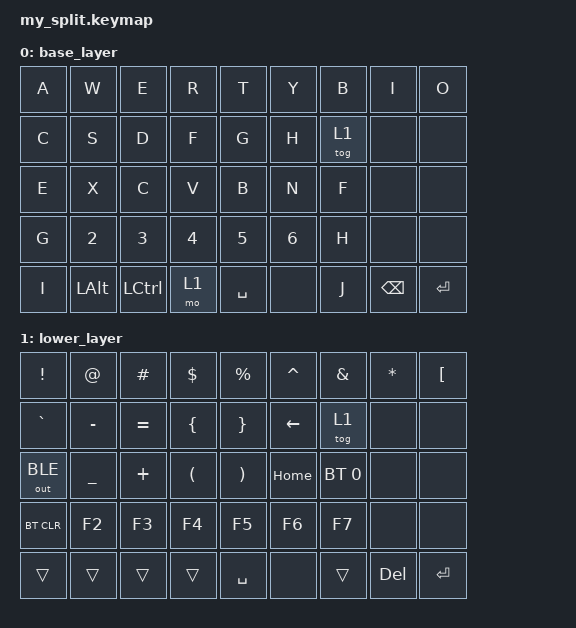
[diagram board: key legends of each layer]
#include <behaviors.dtsi>
#include <dt-bindings/zmk/keys.h>
#include <dt-bindings/zmk/bt.h>
#include <dt-bindings/zmk/outputs.h>

/ {
    keymap {
        compatible = "zmk,keymap";

        base_layer {
            bindings = <
                &kp A        &kp W        &kp E        &kp R        &kp T        &kp Y        &kp B        &kp I        &kp O
                &kp C        &kp S        &kp D        &kp F        &kp G        &kp H        &tog 1       &none        &none
                &kp E        &kp X        &kp C        &kp V        &kp B        &kp N        &kp F        &none        &none
                &kp G        &kp N2       &kp N3       &kp N4       &kp N5       &kp N6       &kp H        &none        &none
                &kp I        &kp LALT     &kp LCTRL    &mo 1        &kp SPACE    &none        &kp J        &kp BSPC     &kp ENTER
            >;
        };

        lower_layer {
            bindings = <
                &kp EXCL     &kp AT       &kp HASH     &kp DLLR     &kp PRCNT    &kp CARET    &kp AMPS     &kp ASTRK    &kp LBKT
                &kp GRAVE    &kp MINUS    &kp EQUAL    &kp LBRC     &kp RBRC     &kp LEFT     &tog 1       &none        &none
                &out OUT_BLE &kp UNDER    &kp PLUS     &kp LPAR     &kp RPAR     &kp HOME     &bt BT_SEL 0 &none        &none
                &bt BT_CLR   &kp F2       &kp F3       &kp F4       &kp F5       &kp F6       &kp F7       &none        &none
                &trans       &trans       &trans       &trans       &kp SPACE    &none        &trans       &kp DEL      &kp ENTER
            >;
        };
    };
};
